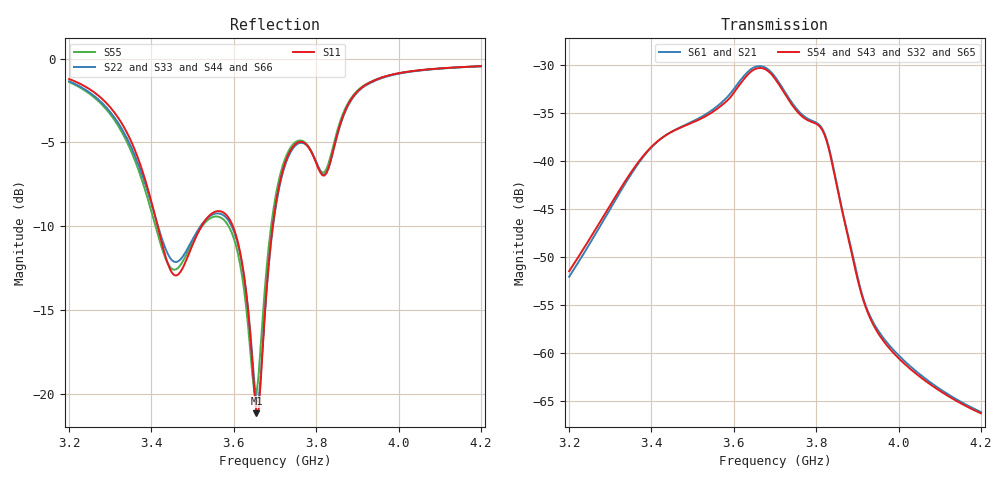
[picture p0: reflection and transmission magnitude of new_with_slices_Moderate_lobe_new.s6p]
! Touchstone file exported from HFSS 2024.2.0
!  File:  D:/Jatin/new_with_slices.aedt
!  Generated:  01:42:00 AM Oct  4, 2026
!  Design:  Moderate_lobe
!  Project:  new_with_slices
!  Setup:  Setup1
!  Solution:  Sweep
! Variables:
!  $L = 85mm
!  $W = 35mm
!  H = 1.575mm
!  L = 42mm
!  W = 35mm
!  Wb = 6mm
!  a = 3.5mm
!  ant_dist = 115mm
!  ant_gap = 3mm
!  b = 5mm
!  c = 5mm
!  d = 2mm
!  e_S1 = 11.5mm
!  e_S2 = 12.5mm
!  e_S3 = 15.5mm
!  e_S4 = 0mm
!  e_S5 = 15.5mm
!  e_S6 = 12.5mm
!  g1 = 2mm
!  g2 = 2mm
!  g3 = 1mm
!  g4 = 2mm
!  gap = 10mm
!  r1 = 3.5mm
!  r2 = 6mm
!  r_brain = 95mm
!  r_brain_ad = 61.68mm
!  r_csf = 95.5mm
!  r_csf_expanded = 64.6mm
!  r_csf_inner = 61.68mm
!  r_csf_outer = 83.5mm
!  r_fat = 87.5mm
!  r_gray = 70.55mm
!  r_gray_healthy = 83mm
!  r_grey_healthy = 83mm
!  r_hip = 12.5mm
!  r_hippo_healthy = 25mm
!  r_skin = 88mm
!  r_skull = 86.5mm
!  r_white = 17.5mm
!  r_white_healthy = 76mm
!  slot_distance = 15mm
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# GHz S MA R 50.000000
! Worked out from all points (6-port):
!   201 points, 3.2 GHz to 4.2 GHz, reference 50 ohm
!   strongest paths, dB at 3.2 GHz, 3.45 GHz, 3.7 GHz, 3.95 GHz, 4.2 GHz:
!     S54: -51.4, -36.9, -31.4, -57.9, -66.2
!     S43: -51.5, -37.0, -31.2, -57.6, -65.9
!     S32: -51.5, -37.1, -31.3, -57.9, -66.4
!     S65: -51.3, -37.0, -31.3, -57.9, -66.3
!     S61: -52.0, -36.9, -31.2, -57.6, -66.1
!     S21: -52.0, -36.9, -30.9, -57.5, -66.1
!   lowest |S11| = -21.2 dB at 3.655 GHz (marker M1), VSWR 1.19, Z = 43.1 - j4.34 ohm
!   |S11| at or under -10 dB: 3.415 GHz to 3.521 GHz (106.4 MHz wide, 3.07 % of centre); 3.598 GHz to 3.694 GHz (96.73 MHz wide, 2.65 % of centre)
